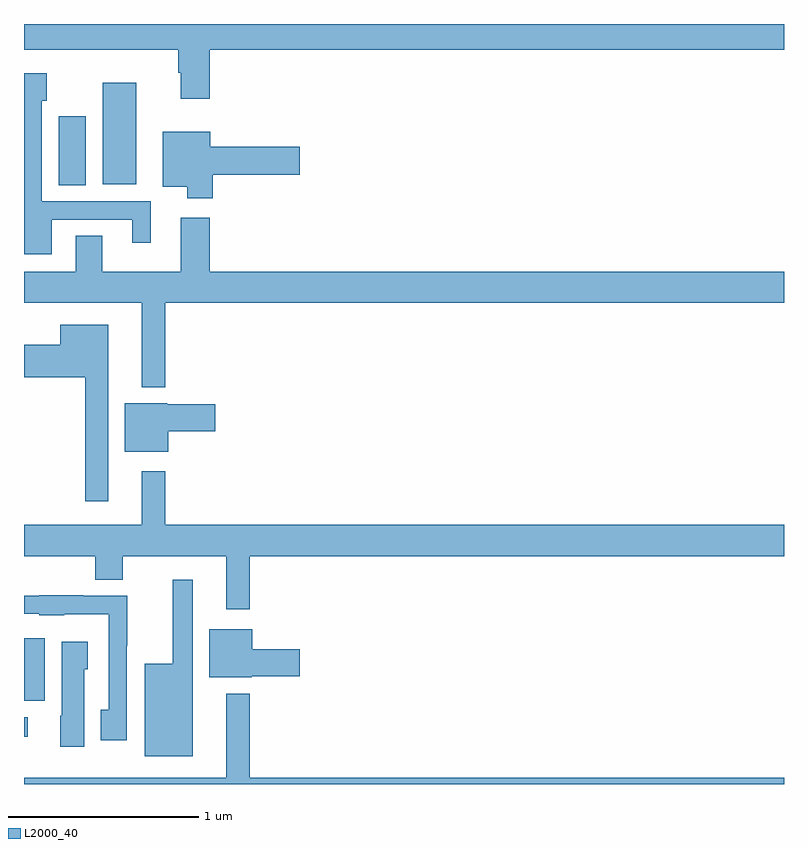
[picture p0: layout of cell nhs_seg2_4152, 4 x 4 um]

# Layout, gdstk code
import gdstk
lib = gdstk.Library(unit=1e-6, precision=1e-09)
def R(c, l, rs):  # rectangles x0, y0, x1, y1
    for r in rs: c.add(gdstk.rectangle(r[:2], r[2:], *l))
def P(c, l, *ps):  # polygons
    for p in ps: c.add(gdstk.Polygon(p, *l))
L2000_40 = (2000, 40)

nhs_seg2_4152 = lib.new_cell('nhs_seg2_4152')
R(nhs_seg2_4152, L2000_40, [(335,616.05,335.02,616.152), (335,616.239,335.11,616.567), (335.183,618.952,335.326,619.315), (335.414,618.956,335.59,619.492)])
P(nhs_seg2_4152, L2000_40, [(335.978,619.664),(339,619.664),(339,619.8),(335,619.8),(335,619.664),(335.813,619.664),(335.813,619.544),(335.825,619.544),(335.825,619.407),(335.978,619.407)],
  [(335.146,618.771),(335.57,618.771),(335.57,618.648),(335.668,618.648),(335.668,618.867),(335.094,618.867),(335.094,619.395),(335.121,619.395),(335.121,619.54),(335,619.54),(335,618.587),(335.146,618.587)],
  [(335.993,619.007),(336.451,619.007),(336.451,619.154),(335.98,619.154),(335.98,619.234),(335.729,619.234),(335.729,618.944),(335.858,618.944),(335.858,618.882),(335.993,618.882)],
  [(335.743,618.332),(339,618.332),(339,618.496),(335.978,618.496),(335.978,618.781),(335.825,618.781),(335.825,618.496),(335.413,618.496),(335.413,618.686),(335.273,618.686),(335.273,618.496),(335,618.496),(335,618.332),(335.621,618.332),(335.621,617.888),(335.743,617.888)],
  [(335.443,618.217),(335.192,618.217),(335.192,618.112),(335,618.112),(335,617.942),(335.322,617.942),(335.322,617.289),(335.443,617.289)],
  [(335.758,617.656),(336.007,617.656),(336.007,617.798),(335.754,617.798),(335.754,617.803),(335.531,617.803),(335.531,617.549),(335.758,617.549)],
  [(336.187,617),(339,617),(339,617.164),(335.743,617.164),(335.743,617.446),(335.621,617.446),(335.621,617.164),(335,617.164),(335,617),(335.374,617),(335.374,616.876),(335.521,616.876),(335.521,617),(336.065,617),(336.065,616.719),(336.187,616.719)],
  [(335.887,616.876),(335.783,616.876),(335.783,616.432),(335.636,616.432),(335.636,615.947),(335.887,615.947)],
  [(335.541,616.528),(335.544,616.528),(335.544,616.791),(335.311,616.791),(335.311,616.793),(335.079,616.793),(335.079,616.791),(335,616.791),(335,616.695),(335.079,616.695),(335.079,616.688),(335.211,616.688),(335.211,616.694),(335.445,616.694),(335.445,616.19),(335.405,616.19),(335.405,616.029),(335.541,616.029)],
  [(336.198,616.367),(336.451,616.367),(336.451,616.509),(336.202,616.509),(336.202,616.615),(335.975,616.615),(335.975,616.361),(336.198,616.361)],
  [(335.317,616.404),(335.335,616.404),(335.335,616.549),(335.198,616.549),(335.198,616.158),(335.192,616.158),(335.192,615.996),(335.317,615.996)],
  [(339,615.832),(336.187,615.832),(336.187,616.276),(336.065,616.276),(336.065,615.832),(335,615.832),(335,615.8),(339,615.8)])

lib.write_gds('nhs_seg2_4152.gds')
